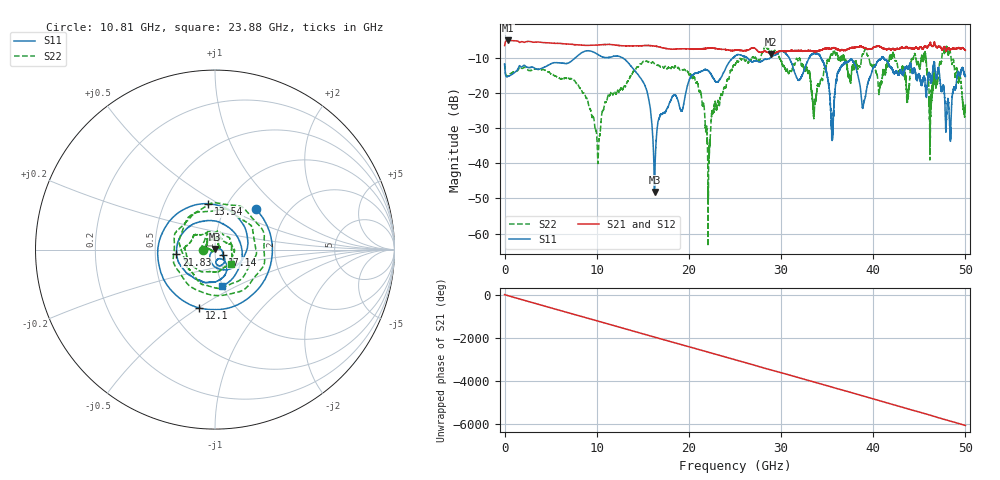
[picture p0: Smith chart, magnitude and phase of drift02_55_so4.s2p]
!Created with skrf (http://scikit-rf.org).
# Hz S RI R 50.0
!freq ReS11 ImS11 ReS21 ImS21 ReS12 ImS12 ReS22 ImS22
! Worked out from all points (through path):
!   10001 points, 300 kHz to 50 GHz, reference 50 ohm
!   highest |S21| = -5.04 dB at 325.3 MHz (marker M1); lowest = -8.9 dB at 28.95 GHz (marker M2)
!   group delay of S21, straight-line fit = 336 ps
!   lowest |S11| = -48.2 dB at 16.27 GHz (marker M3), VSWR 1.01, Z = 49.8 + j0.358 ohm
!   |S11| at or under -10 dB: start of sweep to 7.668 GHz; 12.82 GHz to 24.78 GHz (11.96 GHz wide, 63.6 % of centre); 41.13 GHz to end of sweep (the widest 3 of 8)
!   |S22| runs from -63.6 to -6.7 dB; largest |S21 - S12| = 0.032
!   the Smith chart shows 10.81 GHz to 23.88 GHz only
!   S11 on the Smith chart (normalised r, x): 10.81 GHz: 1.38, +0.70; 12.1 GHz: 0.69, -0.50; 13.54 GHz: 0.82, +0.45; 17.14 GHz: 1.09, -0.06; 21.83 GHz: 0.64, -0.04; 23.88 GHz: 1.00, -0.42
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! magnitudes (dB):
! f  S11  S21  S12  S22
! 300 kHz  -11.7  -6.5  -6.5  -11.7
! 325.3 MHz  -15.3  -5.0  -5.0  -15.1
! 8.335 GHz  -8.6  -6.4  -6.4  -19.1
! 10.11 GHz  -9.0  -6.3  -6.3  -38.6
! 10.81 GHz  -9.8  -6.2  -6.2  -23.6
! 12.1 GHz  -9.5  -6.4  -6.4  -20.4
! 13.54 GHz  -11.8  -6.6  -6.6  -16.0
! 16.27 GHz  -48.2  -6.6  -6.6  -11.7
! 16.67 GHz  -27.9  -6.8  -6.8  -12.1
! 17.14 GHz  -25.9  -7.1  -7.1  -12.4
! 21.83 GHz  -13.3  -7.3  -7.3  -31.1
! 23.88 GHz  -13.6  -7.6  -7.6  -18.4
! 25 GHz  -9.5  -7.8  -7.8  -12.0
! 28.95 GHz  -9.8  -8.9  -8.9  -8.0
! 33.34 GHz  -9.0  -8.0  -8.0  -20.1
! 35.55 GHz  -32.2  -7.2  -7.2  -9.1
! 36.78 GHz  -11.9  -7.8  -7.9  -9.9
! 41.67 GHz  -11.9  -7.4  -7.5  -12.1
! 45.5 GHz  -15.4  -7.0  -6.9  -9.3
! 46.27 GHz  -17.0  -6.3  -6.3  -21.9
! 48.12 GHz  -22.3  -7.2  -7.1  -9.0
! 50 GHz  -15.2  -7.9  -7.8  -23.1
